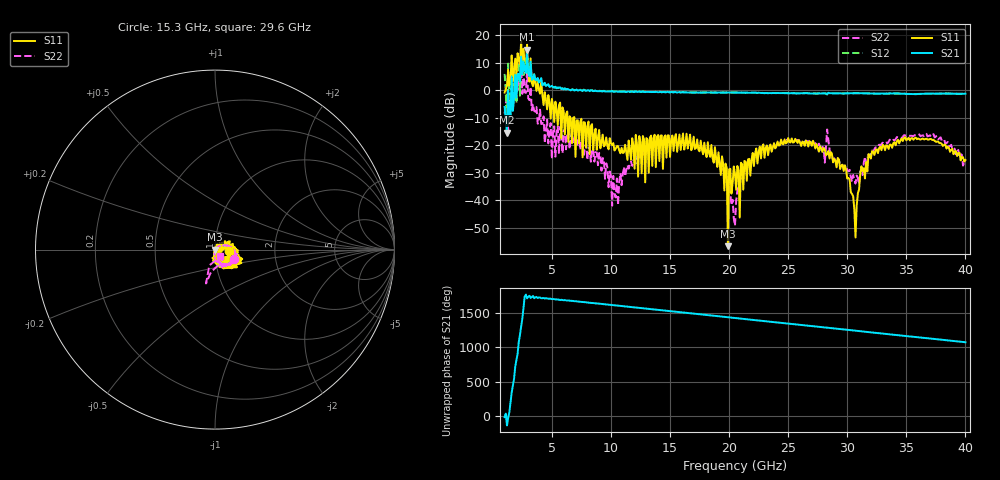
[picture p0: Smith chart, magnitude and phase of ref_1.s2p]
!Keysight Technologies,N5224A,MY55441802,A.10.65.16
!Date: Wednesday, May 13, 2026 18:14:14
!Correction: S11(Full 2 Port(1,2))
!S21(Full 2 Port(1,2))
!S12(Full 2 Port(1,2))
!S22(Full 2 Port(1,2))
!S2P File: Measurements: S11, S21, S12, S22:
# Hz S  dB  R 50
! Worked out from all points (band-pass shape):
!   391 points, 1 GHz to 40 GHz, reference 50 ohm
!   highest |S21| = 14.79 dB at 2.9 GHz (marker M1); lowest = -15.3 dB at 1.2 GHz (marker M2)
!   |S21| within 3 dB of the highest: 2.394 GHz to 2.408 GHz (13.35 MHz wide, 0.556 % of centre); 2.864 GHz to 2.935 GHz (70.54 MHz wide, 2.43 % of centre)
!   lowest |S11| = -56.6 dB at 19.9 GHz (marker M3), VSWR 1.00, Z = 50.1 - j0.0184 ohm
!   |S11| at or under -10 dB: 4.895854 GHz to 4.903366 GHz (7.512 MHz wide, 0.153 % of centre); 6.583 GHz to 6.799 GHz (216.3 MHz wide, 3.23 % of centre); 6.902 GHz to end of sweep (the widest 3 of 8)
!   |S22| runs from -49.2 to 9.3 dB; largest |S21 - S12| = 2.5
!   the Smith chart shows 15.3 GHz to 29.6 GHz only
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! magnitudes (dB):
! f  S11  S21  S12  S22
! 1 GHz  -0.8  -6.0  6.0  -8.4
! 1.2 GHz  1.7  -15.3  -14.9  -1.3
! 1.3 GHz  7.5  -0.1  9.8  -14.6
! 1.5 GHz  3.8  -9.1  -9.7  -1.0
! 1.6 GHz  12.7  5.1  12.7  -3.7
! 2.9 GHz  16.8  14.8  12.4  7.1
! 5 GHz  -3.1  1.6  1.4  -24.9
! 7.5 GHz  -10.3  0.0  0.1  -18.5
! 10.1 GHz  -19.9  -0.3  -0.2  -41.9
! 14 GHz  -16.2  -0.7  -0.7  -18.7
! 19.4 GHz  -24.0  -0.8  -0.7  -26.8
! 19.8 GHz  -28.1  -0.8  -0.7  -31.2
! 19.9 GHz  -56.6  -0.8  -0.7  -33.1
! 20 GHz  -28.7  -0.8  -0.8  -33.5
! 20.5 GHz  -30.5  -0.8  -0.8  -49.2
! 22 GHz  -22.7  -0.8  -0.9  -23.9
! 27 GHz  -20.1  -1.1  -1.1  -18.9
! 29.8 GHz  -27.2  -1.1  -1.1  -27.6
! 30.7 GHz  -53.5  -1.0  -1.0  -33.9
! 31.2 GHz  -27.6  -1.0  -1.0  -28.5
! 33.5 GHz  -21.3  -1.1  -1.2  -18.6
! 40 GHz  -25.3  -1.2  -1.2  -25.0
